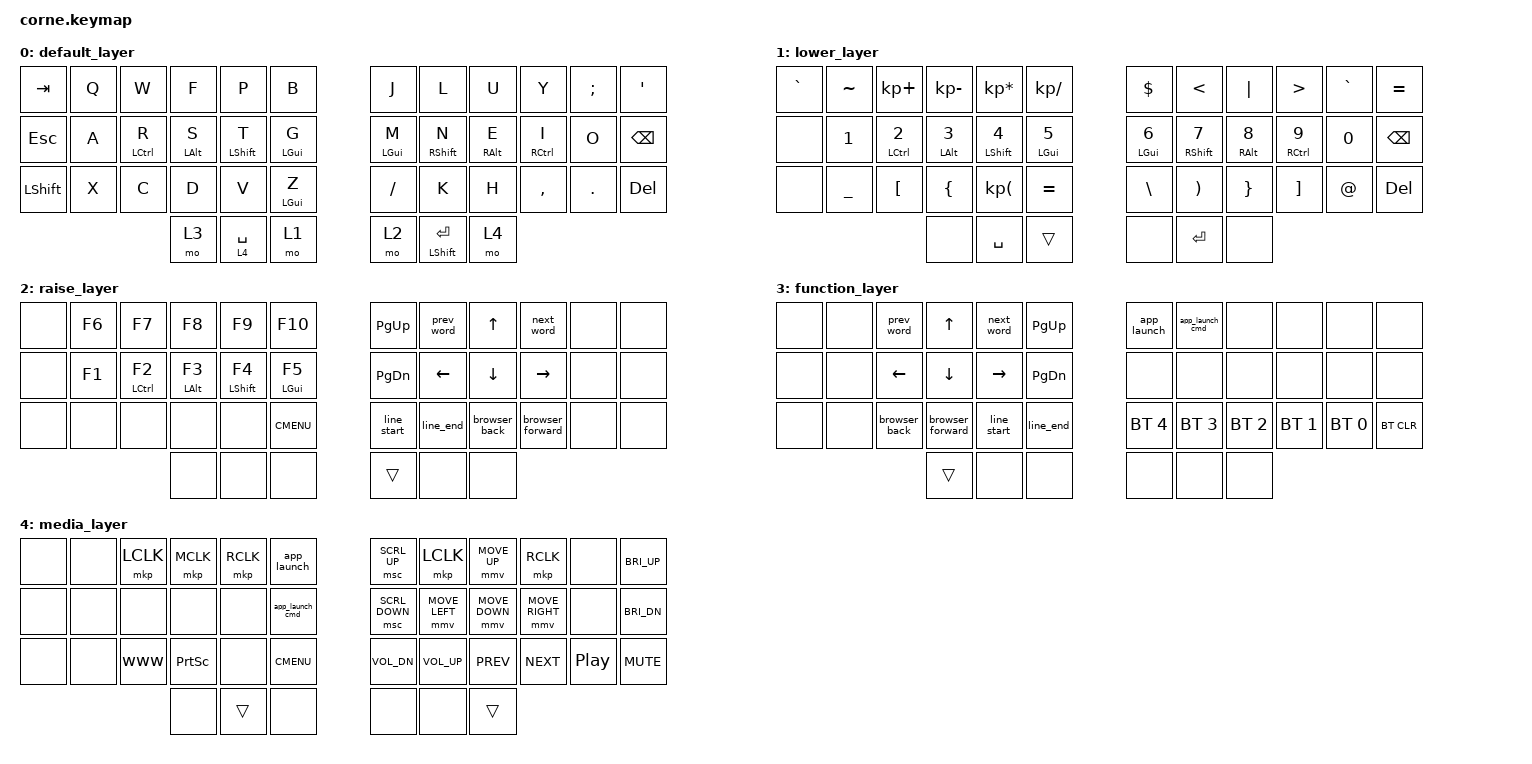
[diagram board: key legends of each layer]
/*
 * Copyright (c) 2020 The ZMK Contributors
 *
 * SPDX-License-Identifier: MIT
 */
#include <behaviors.dtsi>
#include <dt-bindings/zmk/pointing.h>
#include <dt-bindings/zmk/bt.h>
#include <dt-bindings/zmk/keys.h>
#include <dt-bindings/zmk/rgb.h>

#define ZMK_POINTING_DEFAULT_MOVE_VAL 900  // default: 600
#define ZMK_POINTING_DEFAULT_SCRL_VAL 10    // default: 10

/ {
    macros {
        www: www {
            compatible = "zmk,behavior-macro";
            #binding-cells = <0>;
            bindings = <&macro_press &kp LGUI>
                     , <&macro_press &kp LSHFT>
                     , <&macro_tap &kp W>
                     , <&macro_release &kp LGUI>
                     , <&macro_release &kp LSHFT>;
        };

        app_launch: app_launch {
            compatible = "zmk,behavior-macro";
            #binding-cells = <0>;
            bindings = <&macro_press &kp LALT>
                     , <&macro_tap &kp F1>
                     , <&macro_release &kp LALT>;
        };

        app_launch_cmd: app_launch_cmd {
            compatible = "zmk,behavior-macro";
            #binding-cells = <0>;
            bindings = <&macro_press &kp LALT>
                     , <&macro_tap &kp F2>
                     , <&macro_release &kp LALT>;
        };

        prev_word: prev_word {
            compatible = "zmk,behavior-macro";
            #binding-cells = <0>;
            bindings = <&macro_press &kp LCTRL>
                     , <&macro_tap &kp LEFT>
                     , <&macro_release &kp LCTRL>;
        };

        next_word: next_word {
            compatible = "zmk,behavior-macro";
            #binding-cells = <0>;
            bindings = <&macro_press &kp LCTRL>
                     , <&macro_tap &kp RIGHT>
                     , <&macro_release &kp LCTRL>;
        };
        // Line start (equivalent to QMK's LSTRT)
        line_start: line_start {
            compatible = "zmk,behavior-macro";
            #binding-cells = <0>;
            bindings = <&macro_tap &kp HOME>;
        };

        // Line end (equivalent to QMK's LEND)
        line_end: line_end {
            compatible = "zmk,behavior-macro";
            #binding-cells = <0>;
            bindings = <&macro_tap &kp END>;
        };
        // Browser back (equivalent to QMK's WBAK)
        browser_back: browser_back {
            compatible = "zmk,behavior-macro";
            #binding-cells = <0>;
            bindings = <&macro_press &kp LALT>
                     , <&macro_tap &kp LEFT>
                     , <&macro_release &kp LALT>;
        };

        // Browser forward (equivalent to QMK's WFWD)
        browser_forward: browser_forward {
            compatible = "zmk,behavior-macro";
            #binding-cells = <0>;
            bindings = <&macro_press &kp LALT>
                     , <&macro_tap &kp RIGHT>
                     , <&macro_release &kp LALT>;
        };
    };

    behaviors {
        hm: homerow_mods {
            compatible = "zmk,behavior-hold-tap";
            #binding-cells = <2>;
            tapping-term-ms = <200>;
            quick-tap-ms = <0>;
            flavor = "tap-preferred";
            bindings = <&kp>, <&kp>;
        };
    };

    keymap {
        compatible = "zmk,keymap";

        default_layer {

            bindings = <
//        ┌──────┬───┬────────────┬────────────┬────────────┬────────────┐           ┌────────────┬──────────────┬────────────┬────────────┬───┬──────┐
//        │ tab  │ Q │     W      │     F      │     P      │     B      │           │     J      │      L       │     U      │     Y      │ ; │  '   │
//        ├──────┼───┼────────────┼────────────┼────────────┼────────────┤           ├────────────┼──────────────┼────────────┼────────────┼───┼──────┤
//        │ esc  │ A │ &hm lctl R │ &hm lalt S │ &hm lsft T │ &hm lgui G │           │ &hm lgui M │  &hm rsft N  │ &hm ralt E │ &hm rctl I │ O │ bspc │
//        ├──────┼───┼────────────┼────────────┼────────────┼────────────┤           ├────────────┼──────────────┼────────────┼────────────┼───┼──────┤
//        │ lsft │ X │     C      │     D      │     V      │ &hm lgui Z │           │     /      │      K       │     H      │     ,      │ . │ del  │
//        └──────┴───┴────────────┼────────────┼────────────┼────────────┤           ├────────────┼──────────────┼────────────┼────────────┴───┴──────┘
//                                │    mo 3    │  lt 4 spc  │    mo 1    │           │    mo 2    │ &hm lsft ent │    mo 4    │
//                                └────────────┴────────────┴────────────┘           └────────────┴──────────────┴────────────┘
      &kp TAB     &kp Q   &kp W         &kp F        &kp P         &kp B                    &kp J        &kp L           &kp U        &kp Y         &kp SEMI   &kp SQT
      &kp ESC     &kp A   &hm LCTRL R   &hm LALT S   &hm LSHFT T   &hm LGUI G               &hm LGUI M   &hm RSHFT N     &hm RALT E   &hm RCTRL I   &kp O      &kp BSPC
      &kp LSHFT   &kp X   &kp C         &kp D        &kp V         &hm LGUI Z               &kp FSLH     &kp K           &kp H        &kp COMMA     &kp DOT    &kp DEL
                                        &mo 3        &lt 4 SPACE   &mo 1                    &mo 2        &hm LSHFT RET   &mo 4
            >;
        };

        lower_layer {

            bindings = <
//        ┌─────┬───┬────────────┬────────────┬────────────┬────────────┐           ┌────────────┬────────────┬────────────┬────────────┬───┬──────┐
//        │  `  │ ~ │    kp_+    │    kp_-    │    kp_*    │    kp_/    │           │     $      │     <      │     |      │     >      │ ` │  =   │
//        ├─────┼───┼────────────┼────────────┼────────────┼────────────┤           ├────────────┼────────────┼────────────┼────────────┼───┼──────┤
//        │     │ 1 │ &hm lctl 2 │ &hm lalt 3 │ &hm lsft 4 │ &hm lgui 5 │           │ &hm lgui 6 │ &hm rsft 7 │ &hm ralt 8 │ &hm rctl 9 │ 0 │ bspc │
//        ├─────┼───┼────────────┼────────────┼────────────┼────────────┤           ├────────────┼────────────┼────────────┼────────────┼───┼──────┤
//        │     │ _ │     [      │     {      │    kp_(    │     =      │           │     \      │     )      │     }      │     ]      │ @ │ del  │
//        └─────┴───┴────────────┼────────────┼────────────┼────────────┤           ├────────────┼────────────┼────────────┼────────────┴───┴──────┘
//                               │            │    spc     │            │           │            │    ent     │            │
//                               └────────────┴────────────┴────────────┘           └────────────┴────────────┴────────────┘
      &kp GRAVE   &kp TILDE   &kp KP_PLUS    &kp KP_MINUS   &kp KP_MULTIPLY   &kp KP_SLASH               &kp DLLR      &kp LT         &kp PIPE      &kp GT         &kp GRAVE   &kp EQUAL
      &none       &kp N1      &hm LCTRL N2   &hm LALT N3    &hm LSHFT N4      &hm LGUI N5                &hm LGUI N6   &hm RSHFT N7   &hm RALT N8   &hm RCTRL N9   &kp N0      &kp BSPC
      &none       &kp UNDER   &kp LBKT       &kp LBRC       &kp KP_LPAR       &kp EQUAL                  &kp BSLH      &kp RPAR       &kp RBRC      &kp RBKT       &kp AT      &kp DEL
                                             &none          &kp SPACE         &trans                     &none         &kp RET        &none
            >;
        };

        raise_layer {

            bindings = <
//        ┌─────┬─────┬─────────────┬─────────────┬─────────────┬─────────────┐           ┌─────────────┬────────────┬───────────────┬──────────────────┬─────┬─────┐
//        │     │ f6  │     f7      │     f8      │     f9      │     f10     │           │    pgup     │ &prev_word │      up       │    &next_word    │     │     │
//        ├─────┼─────┼─────────────┼─────────────┼─────────────┼─────────────┤           ├─────────────┼────────────┼───────────────┼──────────────────┼─────┼─────┤
//        │     │ f1  │ &hm lctl f2 │ &hm lalt f3 │ &hm lsft f4 │ &hm lgui f5 │           │    pgdn     │    left    │     down      │       rght       │     │     │
//        ├─────┼─────┼─────────────┼─────────────┼─────────────┼─────────────┤           ├─────────────┼────────────┼───────────────┼──────────────────┼─────┼─────┤
//        │     │     │             │             │             │     app     │           │ &line_start │ &line_end  │ &browser_back │ &browser_forward │     │     │
//        └─────┴─────┴─────────────┼─────────────┼─────────────┼─────────────┤           ├─────────────┼────────────┼───────────────┼──────────────────┴─────┴─────┘
//                                  │             │             │             │           │             │            │               │
//                                  └─────────────┴─────────────┴─────────────┘           └─────────────┴────────────┴───────────────┘
      &none   &kp F6   &kp F7         &kp F8        &kp F9         &kp F10                   &kp PG_UP     &prev_word   &kp UP          &next_word         &none   &none
      &none   &kp F1   &hm LCTRL F2   &hm LALT F3   &hm LSHFT F4   &hm LGUI F5               &kp PG_DN     &kp LEFT     &kp DOWN        &kp RIGHT          &none   &none
      &none   &none    &none          &none         &none          &kp K_CMENU               &line_start   &line_end    &browser_back   &browser_forward   &none   &none
                                      &none         &none          &none                     &trans        &none        &none
            >;
        };

        function_layer {

           bindings = <
//        ┌─────┬─────┬───────────────┬──────────────────┬─────────────┬───────────┐           ┌─────────────┬─────────────────┬──────────┬──────────┬──────────┬────────┐
//        │     │     │  &prev_word   │        up        │ &next_word  │   pgup    │           │ &app_launch │ &app_launch_cmd │          │          │          │        │
//        ├─────┼─────┼───────────────┼──────────────────┼─────────────┼───────────┤           ├─────────────┼─────────────────┼──────────┼──────────┼──────────┼────────┤
//        │     │     │     left      │       down       │    rght     │   pgdn    │           │             │                 │          │          │          │        │
//        ├─────┼─────┼───────────────┼──────────────────┼─────────────┼───────────┤           ├─────────────┼─────────────────┼──────────┼──────────┼──────────┼────────┤
//        │     │     │ &browser_back │ &browser_forward │ &line_start │ &line_end │           │  bt_sel 4   │    bt_sel 3     │ bt_sel 2 │ bt_sel 1 │ bt_sel 0 │ bt_clr │
//        └─────┴─────┴───────────────┼──────────────────┼─────────────┼───────────┤           ├─────────────┼─────────────────┼──────────┼──────────┴──────────┴────────┘
//                                    │                  │             │           │           │             │                 │          │
//                                    └──────────────────┴─────────────┴───────────┘           └─────────────┴─────────────────┴──────────┘
      &none   &none   &prev_word      &kp UP             &next_word    &kp PG_UP               &app_launch    &app_launch_cmd   &none          &none          &none          &none
      &none   &none   &kp LEFT        &kp DOWN           &kp RIGHT     &kp PG_DN               &none          &none             &none          &none          &none          &none
      &none   &none   &browser_back   &browser_forward   &line_start   &line_end               &bt BT_SEL 4   &bt BT_SEL 3      &bt BT_SEL 2   &bt BT_SEL 1   &bt BT_SEL 0   &bt BT_CLR
                                      &trans             &none         &none                   &none          &none             &none
            >;
        };

        media_layer {

            bindings = <
//        ┌─────┬─────┬──────┬──────┬──────┬─────────────────┐           ┌────────────────┬────────────────┬────────────────┬────────────────┬──────┬──────┐
//        │     │     │ lclk │ mclk │ rclk │   &app_launch   │           │  &msc SCRL_up  │      lclk      │  &mmv MOVE_up  │      rclk      │      │ bri+ │
//        ├─────┼─────┼──────┼──────┼──────┼─────────────────┤           ├────────────────┼────────────────┼────────────────┼────────────────┼──────┼──────┤
//        │     │     │      │      │      │ &app_launch_cmd │           │ &msc SCRL_down │ &mmv MOVE_left │ &mmv MOVE_down │ &mmv MOVE_rght │      │ bri- │
//        ├─────┼─────┼──────┼──────┼──────┼─────────────────┤           ├────────────────┼────────────────┼────────────────┼────────────────┼──────┼──────┤
//        │     │     │ &www │ pscr │      │       app       │           │      vold      │      volu      │      prev      │      next      │ play │ mute │
//        └─────┴─────┴──────┼──────┼──────┼─────────────────┤           ├────────────────┼────────────────┼────────────────┼────────────────┴──────┴──────┘
//                           │      │      │                 │           │                │                │                │
//                           └──────┴──────┴─────────────────┘           └────────────────┴────────────────┴────────────────┘
      &none   &none   &mkp LCLK   &mkp MCLK   &mkp RCLK   &app_launch                   &msc SCRL_UP     &mkp LCLK        &mmv MOVE_UP     &mkp RCLK         &none      &kp C_BRI_UP
      &none   &none   &none       &none       &none       &app_launch_cmd               &msc SCRL_DOWN   &mmv MOVE_LEFT   &mmv MOVE_DOWN   &mmv MOVE_RIGHT   &none      &kp C_BRI_DN
      &none   &none   &www        &kp PSCRN   &none       &kp K_CMENU                   &kp C_VOL_DN     &kp C_VOL_UP     &kp C_PREV       &kp C_NEXT        &kp C_PP   &kp C_MUTE
                                  &none       &trans      &none                         &none            &none            &trans
          >;
      };
    };
};
